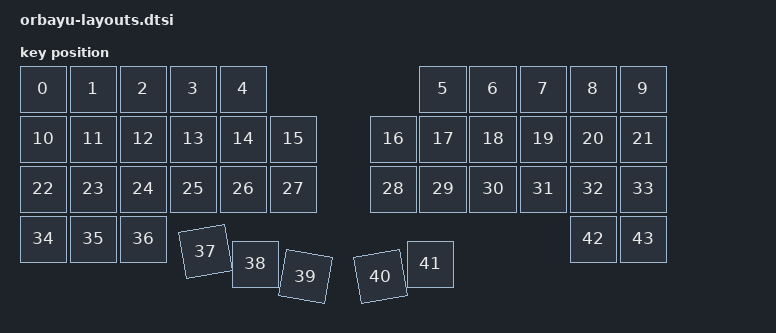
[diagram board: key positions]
// Physical key positions for ZMK Studio.
// Coordinates in centiunits (100 = 1U). Placeholder grid layout — adjust to real stagger/offsets.
// See https://zmk.dev/docs/development/hardware-integration/physical-layouts#optional-keys-property

#include <physical_layouts.dtsi>

/ {
    default_layout: default_layout {
        compatible = "zmk,physical-layout";
        display-name = "Default Layout";
        transform = <&default_transform>;
        kscan = <&kscan>;

        //                           w    h     x     y   rot   rx   ry
        keys
        /* ROW 0 — left (5 keys), then right (5 keys) */
            = <&key_physical_attrs 100 100     0     0     0    0    0>
            , <&key_physical_attrs 100 100   100     0     0    0    0>
            , <&key_physical_attrs 100 100   200     0     0    0    0>
            , <&key_physical_attrs 100 100   300     0     0    0    0>
            , <&key_physical_attrs 100 100   400     0     0    0    0>
            , <&key_physical_attrs 100 100   800     0     0    0    0>
            , <&key_physical_attrs 100 100   900     0     0    0    0>
            , <&key_physical_attrs 100 100  1000     0     0    0    0>
            , <&key_physical_attrs 100 100  1100     0     0    0    0>
            , <&key_physical_attrs 100 100  1200     0     0    0    0>
        /* ROW 1 — left (6 keys), then right (6 keys) */
            , <&key_physical_attrs 100 100     0   100     0    0    0>
            , <&key_physical_attrs 100 100   100   100     0    0    0>
            , <&key_physical_attrs 100 100   200   100     0    0    0>
            , <&key_physical_attrs 100 100   300   100     0    0    0>
            , <&key_physical_attrs 100 100   400   100     0    0    0>
            , <&key_physical_attrs 100 100   500   100     0    0    0>
            , <&key_physical_attrs 100 100   700   100     0    0    0>
            , <&key_physical_attrs 100 100   800   100     0    0    0>
            , <&key_physical_attrs 100 100   900   100     0    0    0>
            , <&key_physical_attrs 100 100  1000   100     0    0    0>
            , <&key_physical_attrs 100 100  1100   100     0    0    0>
            , <&key_physical_attrs 100 100  1200   100     0    0    0>
        /* ROW 2 — left (6 keys), then right (6 keys) */
            , <&key_physical_attrs 100 100     0   200     0    0    0>
            , <&key_physical_attrs 100 100   100   200     0    0    0>
            , <&key_physical_attrs 100 100   200   200     0    0    0>
            , <&key_physical_attrs 100 100   300   200     0    0    0>
            , <&key_physical_attrs 100 100   400   200     0    0    0>
            , <&key_physical_attrs 100 100   500   200     0    0    0>
            , <&key_physical_attrs 100 100   700   200     0    0    0>
            , <&key_physical_attrs 100 100   800   200     0    0    0>
            , <&key_physical_attrs 100 100   900   200     0    0    0>
            , <&key_physical_attrs 100 100  1000   200     0    0    0>
            , <&key_physical_attrs 100 100  1100   200     0    0    0>
            , <&key_physical_attrs 100 100  1200   200     0    0    0>
        /* ROW 3 — left (6 keys), then right (4 keys) */
            , <&key_physical_attrs 100 100     0   300     0    0    0>
            , <&key_physical_attrs 100 100   100   300     0    0    0>
            , <&key_physical_attrs 100 100   200   300     0    0    0>
            , <&key_physical_attrs 100 100   325   325 (-1000)  375  375>
            , <&key_physical_attrs 100 100   425   350     0    0    0>
            , <&key_physical_attrs 100 100   525   375  1000  575  425>
            , <&key_physical_attrs 100 100   675   375 (-1000)  725  425>
            , <&key_physical_attrs 100 100   775   350     0    0    0>
            , <&key_physical_attrs 100 100  1100   300     0    0    0>
            , <&key_physical_attrs 100 100  1200   300     0    0    0>
            ;
    };
};
